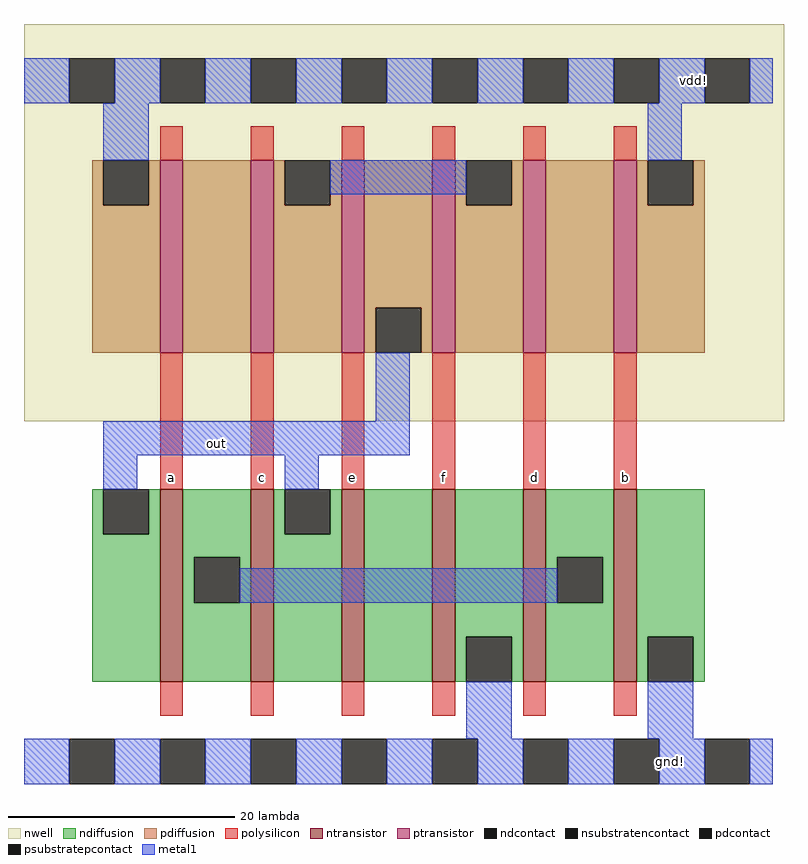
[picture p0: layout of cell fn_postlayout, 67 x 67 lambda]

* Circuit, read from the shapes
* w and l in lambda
.subckt fn_postlayout a b c d e f gnd! out vdd!
M1 n1 a out gnd! nfet w=17 l=2
M2 out c n1 gnd! nfet w=17 l=2
M3 n2 e out gnd! nfet w=17 l=2
M4 gnd! f n2 gnd! nfet w=17 l=2
M5 n1 d gnd! gnd! nfet w=17 l=2
M6 gnd! b n1 gnd! nfet w=17 l=2
M7 n3 a vdd! vdd! pfet w=17 l=2
M8 n4 c n3 vdd! pfet w=17 l=2
M9 out e n4 vdd! pfet w=17 l=2
M10 n4 f out vdd! pfet w=17 l=2
M11 n5 d n4 vdd! pfet w=17 l=2
M12 vdd! b n5 vdd! pfet w=17 l=2
.ends

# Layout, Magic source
magic
tech min2
<< nwell >>
rect 0 32 67 67
<< ntransistor >>
rect 12 9 14 26
rect 20 9 22 26
rect 28 9 30 26
rect 36 9 38 26
rect 44 9 46 26
rect 52 9 54 26
<< ptransistor >>
rect 12 38 14 55
rect 20 38 22 55
rect 28 38 30 55
rect 36 38 38 55
rect 44 38 46 55
rect 52 38 54 55
<< ndiffusion >>
rect 6 22 7 26
rect 11 22 12 26
rect 6 9 12 22
rect 14 20 20 26
rect 14 16 15 20
rect 19 16 20 20
rect 14 9 20 16
rect 22 22 23 26
rect 27 22 28 26
rect 22 9 28 22
rect 30 9 36 26
rect 38 13 44 26
rect 38 9 39 13
rect 43 9 44 13
rect 46 20 52 26
rect 46 16 47 20
rect 51 16 52 20
rect 46 9 52 16
rect 54 13 60 26
rect 54 9 55 13
rect 59 9 60 13
<< pdiffusion >>
rect 6 51 7 55
rect 11 51 12 55
rect 6 38 12 51
rect 14 38 20 55
rect 22 51 23 55
rect 27 51 28 55
rect 22 38 28 51
rect 30 42 36 55
rect 30 38 31 42
rect 35 38 36 42
rect 38 51 39 55
rect 43 51 44 55
rect 38 38 44 51
rect 46 38 52 55
rect 54 51 55 55
rect 59 51 60 55
rect 54 38 60 51
<< ndcontact >>
rect 7 22 11 26
rect 15 16 19 20
rect 23 22 27 26
rect 39 9 43 13
rect 47 16 51 20
rect 55 9 59 13
<< pdcontact >>
rect 7 51 11 55
rect 23 51 27 55
rect 31 38 35 42
rect 39 51 43 55
rect 55 51 59 55
<< psubstratepcontact >>
rect 4 0 8 4
rect 12 0 16 4
rect 20 0 24 4
rect 28 0 32 4
rect 36 0 40 4
rect 44 0 48 4
rect 52 0 56 4
rect 60 0 64 4
<< nsubstratencontact >>
rect 4 60 8 64
rect 12 60 16 64
rect 20 60 24 64
rect 28 60 32 64
rect 36 60 40 64
rect 44 60 48 64
rect 52 60 56 64
rect 60 60 64 64
<< polysilicon >>
rect 12 55 14 58
rect 20 55 22 58
rect 28 55 30 58
rect 36 55 38 58
rect 44 55 46 58
rect 52 55 54 58
rect 12 26 14 38
rect 20 26 22 38
rect 28 26 30 38
rect 36 26 38 38
rect 44 26 46 38
rect 52 26 54 38
rect 12 6 14 9
rect 20 6 22 9
rect 28 6 30 9
rect 36 6 38 9
rect 44 6 46 9
rect 52 6 54 9
<< metal1 >>
rect 0 60 4 64
rect 8 60 12 64
rect 16 60 20 64
rect 24 60 28 64
rect 32 60 36 64
rect 40 60 44 64
rect 48 60 52 64
rect 56 60 60 64
rect 64 60 66 64
rect 7 55 11 60
rect 55 55 58 60
rect 27 52 39 55
rect 31 32 34 38
rect 7 29 34 32
rect 7 26 10 29
rect 23 26 26 29
rect 19 16 47 19
rect 39 4 43 9
rect 55 4 59 9
rect 0 0 4 4
rect 8 0 12 4
rect 16 0 20 4
rect 24 0 28 4
rect 32 0 36 4
rect 40 0 44 4
rect 48 0 52 4
rect 56 0 60 4
rect 64 0 66 4
<< labels >>
rlabel polysilicon 13 27 13 27 1 a
rlabel polysilicon 21 27 21 27 1 c
rlabel polysilicon 29 27 29 27 1 e
rlabel polysilicon 37 27 37 27 1 f
rlabel polysilicon 45 27 45 27 1 d
rlabel polysilicon 53 27 53 27 1 b
rlabel metal1 17 30 17 30 1 out
rlabel metal1 59 62 59 62 5 vdd!
rlabel metal1 57 2 57 2 1 gnd!
<< end >>
